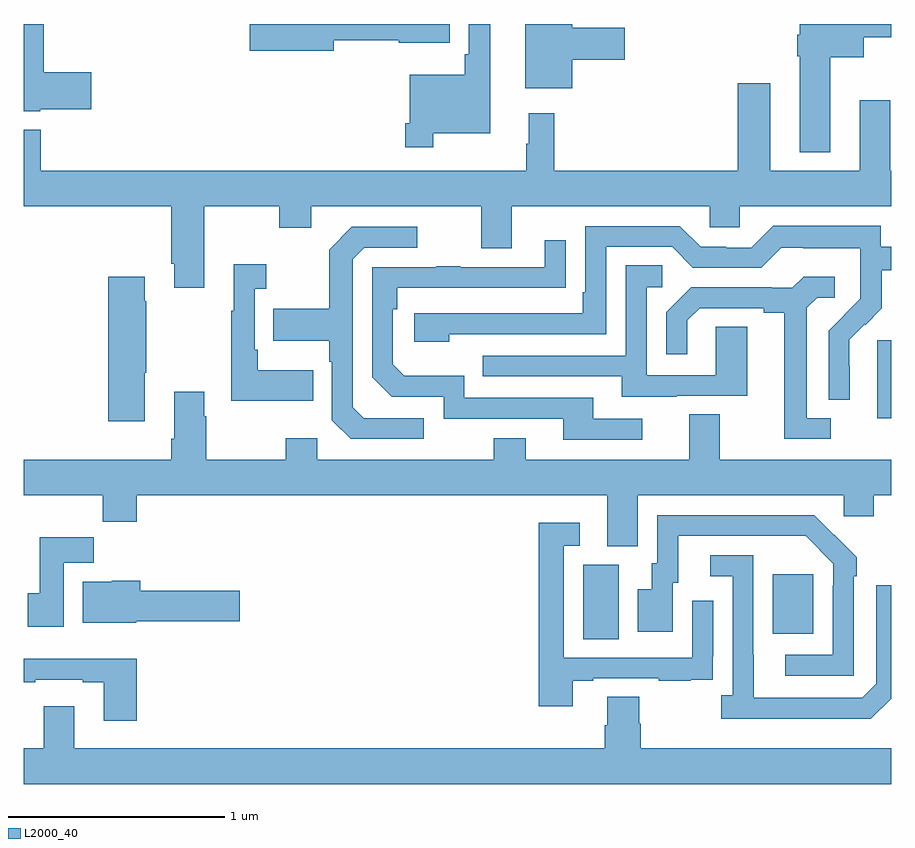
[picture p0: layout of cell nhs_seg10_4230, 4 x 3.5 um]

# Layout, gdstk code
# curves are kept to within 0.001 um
import gdstk
lib = gdstk.Library(unit=1e-6, precision=1e-09)
def R(c, l, rs):  # rectangles x0, y0, x1, y1
    for r in rs: c.add(gdstk.rectangle(r[:2], r[2:], *l))
def P(c, l, *ps):  # polygons
    for p in ps: c.add(gdstk.Polygon(p, *l))
L2000_40 = (2000, 40)

nhs_seg10_4230 = lib.new_cell('nhs_seg10_4230')
R(nhs_seg10_4230, L2000_40, [(349.58,1287.664,349.744,1288.008), (350.453,1287.689,350.641,1287.964), (350.936,1288.682,351,1289.043)])
P(nhs_seg10_4230, L2000_40, [(348.43,1290.424),(348.728,1290.424),(348.728,1290.413),(348.964,1290.413),(348.964,1290.5),(348.042,1290.5),(348.042,1290.377),(348.43,1290.377)],
  [(347.076,1290.107),(347.311,1290.107),(347.311,1290.278),(347.093,1290.278),(347.093,1290.5),(347,1290.5),(347,1290.098),(347.076,1290.098)],
  [(349.528,1290.335),(349.771,1290.335),(349.771,1290.482),(349.528,1290.482),(349.528,1290.5),(349.313,1290.5),(349.313,1290.203),(349.528,1290.203)],
  [(348.889,1289.996),(349.15,1289.996),(349.15,1290.5),(349.053,1290.5),(349.053,1290.361),(349.033,1290.361),(349.033,1290.265),(348.78,1290.265),(348.78,1290.043),(348.76,1290.043),(348.76,1289.931),(348.889,1289.931)],
  [(350.719,1290.347),(350.872,1290.347),(350.872,1290.44),(351,1290.44),(351,1290.5),(350.579,1290.5),(350.579,1290.451),(350.567,1290.451),(350.567,1290.351),(350.579,1290.351),(350.579,1289.909),(350.719,1289.909)],
  [(347.833,1289.66),(348.178,1289.66),(348.178,1289.561),(348.325,1289.561),(348.325,1289.66),(349.109,1289.66),(349.109,1289.466),(349.249,1289.466),(349.249,1289.66),(350.163,1289.66),(350.163,1289.562),(350.301,1289.562),(350.301,1289.66),(351,1289.66),(351,1289.824),(350.995,1289.824),(350.995,1290.148),(350.855,1290.148),(350.855,1289.824),(350.443,1289.824),(350.443,1290.226),(350.291,1290.226),(350.291,1289.824),(349.445,1289.824),(349.445,1290.088),(349.328,1290.088),(349.328,1289.948),(349.317,1289.948),(349.317,1289.824),(347.078,1289.824),(347.078,1290.013),(347,1290.013),(347,1289.66),(347.681,1289.66),(347.681,1289.395),(347.693,1289.395),(347.693,1289.283),(347.833,1289.283)],
  [(350.808,1288.922),(350.807,1289.045),(350.877,1289.115),(350.88,1289.112),(350.957,1289.189),(350.957,1289.364),(351,1289.364),(351,1289.472),(350.952,1289.472),(350.952,1289.569),(350.455,1289.569),(350.355,1289.469),(350.24,1289.469),(350.24,1289.472),(350.121,1289.472),(350.025,1289.568),(349.59,1289.568),(349.59,1289.263),(349.577,1289.263),(349.577,1289.166),(348.801,1289.166),(348.801,1289.036),(348.962,1289.036),(348.962,1289.07),(349.686,1289.07),(349.686,1289.472),(349.989,1289.472),(350.085,1289.376),(350.4,1289.376),(350.493,1289.469),(350.593,1289.469),(350.593,1289.465),(350.856,1289.465),(350.856,1289.331),(350.858,1289.331),(350.858,1289.234),(350.712,1289.086),(350.712,1288.768),(350.808,1288.768)],
  [(348.844,1288.683),(348.567,1288.683),(348.516,1288.734),(348.516,1289.415),(348.57,1289.469),(348.814,1289.469),(348.814,1289.565),(348.513,1289.565),(348.408,1289.459),(348.408,1289.187),(348.151,1289.187),(348.151,1289.039),(348.408,1289.039),(348.408,1288.943),(348.42,1288.943),(348.42,1288.674),(348.507,1288.587),(348.844,1288.587)],
  [(349.852,1288.68),(349.627,1288.68),(349.627,1288.776),(349.032,1288.776),(349.032,1288.879),(348.755,1288.879),(348.702,1288.932),(348.702,1289.186),(348.722,1289.186),(348.722,1289.283),(349.499,1289.284),(349.499,1289.503),(349.403,1289.503),(349.403,1289.379),(349.013,1289.379),(349.013,1289.384),(348.901,1289.384),(348.901,1289.379),(348.606,1289.379),(348.606,1288.872),(348.696,1288.782),(348.936,1288.782),(348.936,1288.68),(349.487,1288.68),(349.487,1288.584),(349.852,1288.584)],
  [(348.335,1288.903),(348.079,1288.903),(348.079,1288.999),(348.066,1288.999),(348.066,1289.279),(348.118,1289.279),(348.118,1289.392),(347.969,1289.392),(347.969,1289.179),(347.958,1289.179),(347.958,1288.763),(348.335,1288.763)],
  [(350.011,1288.785),(350.335,1288.785),(350.335,1289.105),(350.19,1289.105),(350.19,1288.881),(349.872,1288.881),(349.872,1289.286),(349.945,1289.286),(349.945,1289.387),(349.776,1289.387),(349.776,1288.971),(349.117,1288.971),(349.117,1288.875),(349.757,1288.875),(349.757,1288.781),(350.011,1288.781)],
  [(350.722,1288.683),(350.611,1288.683),(350.611,1289.191),(350.658,1289.238),(350.74,1289.238),(350.74,1289.335),(350.596,1289.335),(350.544,1289.283),(350.45,1289.283),(350.45,1289.286),(350.078,1289.286),(349.962,1289.17),(349.962,1288.977),(350.059,1288.977),(350.059,1289.133),(350.116,1289.19),(350.411,1289.19),(350.411,1289.168),(350.507,1289.168),(350.507,1288.587),(350.722,1288.587)],
  [(347.557,1288.891),(347.565,1288.891),(347.565,1289.222),(347.557,1289.222),(347.557,1289.335),(347.39,1289.335),(347.39,1288.668),(347.557,1288.668)],
  [(349.831,1288.328),(350.781,1288.328),(350.781,1288.23),(350.92,1288.23),(350.92,1288.328),(351,1288.328),(351,1288.492),(350.209,1288.492),(350.209,1288.7),(350.069,1288.7),(350.069,1288.492),(349.315,1288.492),(349.315,1288.591),(349.168,1288.591),(349.168,1288.492),(348.354,1288.492),(348.354,1288.591),(348.208,1288.591),(348.208,1288.492),(347.841,1288.492),(347.841,1288.691),(347.833,1288.691),(347.833,1288.804),(347.693,1288.804),(347.693,1288.588),(347.681,1288.588),(347.681,1288.492),(347,1288.492),(347,1288.328),(347.365,1288.328),(347.365,1288.204),(347.522,1288.204),(347.522,1288.328),(349.691,1288.328),(349.691,1288.093),(349.831,1288.093)],
  [(350.826,1287.953),(350.841,1287.953),(350.841,1288.041),(350.644,1288.236),(349.92,1288.236),(349.92,1288.014),(349.895,1288.014),(349.895,1287.895),(349.832,1287.895),(349.832,1287.699),(349.993,1287.699),(349.993,1287.924),(350.017,1287.924),(350.017,1288.14),(350.605,1288.14),(350.733,1288.011),(350.733,1287.911),(350.73,1287.911),(350.73,1287.591),(350.511,1287.591),(350.511,1287.495),(350.826,1287.495)],
  [(349.531,1287.471),(349.627,1287.471),(349.627,1287.483),(349.927,1287.483),(349.927,1287.471),(350.075,1287.471),(350.075,1287.477),(350.177,1287.477),(350.177,1287.586),(350.178,1287.586),(350.178,1287.841),(350.082,1287.841),(350.082,1287.579),(349.491,1287.579),(349.491,1288.095),(349.564,1288.095),(349.564,1288.201),(349.375,1288.201),(349.375,1287.354),(349.531,1287.354)],
  [(347.185,1288.016),(347.324,1288.016),(347.324,1288.134),(347.075,1288.134),(347.075,1287.876),(347.018,1287.876),(347.018,1287.72),(347.185,1287.72)],
  [(351,1287.39),(351,1287.913),(350.931,1287.913),(350.931,1287.459),(350.865,1287.393),(350.365,1287.393),(350.364,1288.05),(350.166,1288.05),(350.166,1287.954),(350.268,1287.954),(350.268,1287.406),(350.217,1287.406),(350.217,1287.296),(350.906,1287.296)],
  [(347.52,1287.746),(347.995,1287.746),(347.995,1287.888),(347.537,1287.888),(347.537,1287.934),(347.406,1287.934),(347.406,1287.928),(347.273,1287.928),(347.273,1287.74),(347.52,1287.74)],
  [(347.522,1287.574),(347,1287.574),(347,1287.465),(347.053,1287.465),(347.053,1287.477),(347.273,1287.477),(347.273,1287.465),(347.369,1287.465),(347.369,1287.288),(347.522,1287.288)],
  [(351,1287.16),(349.844,1287.16),(349.844,1287.273),(349.839,1287.273),(349.839,1287.398),(349.691,1287.398),(349.691,1287.266),(349.679,1287.266),(349.679,1287.16),(347.233,1287.16),(347.233,1287.355),(347.093,1287.355),(347.093,1287.16),(347,1287.16),(347,1286.996),(351,1286.996)])

lib.write_gds('nhs_seg10_4230.gds')
